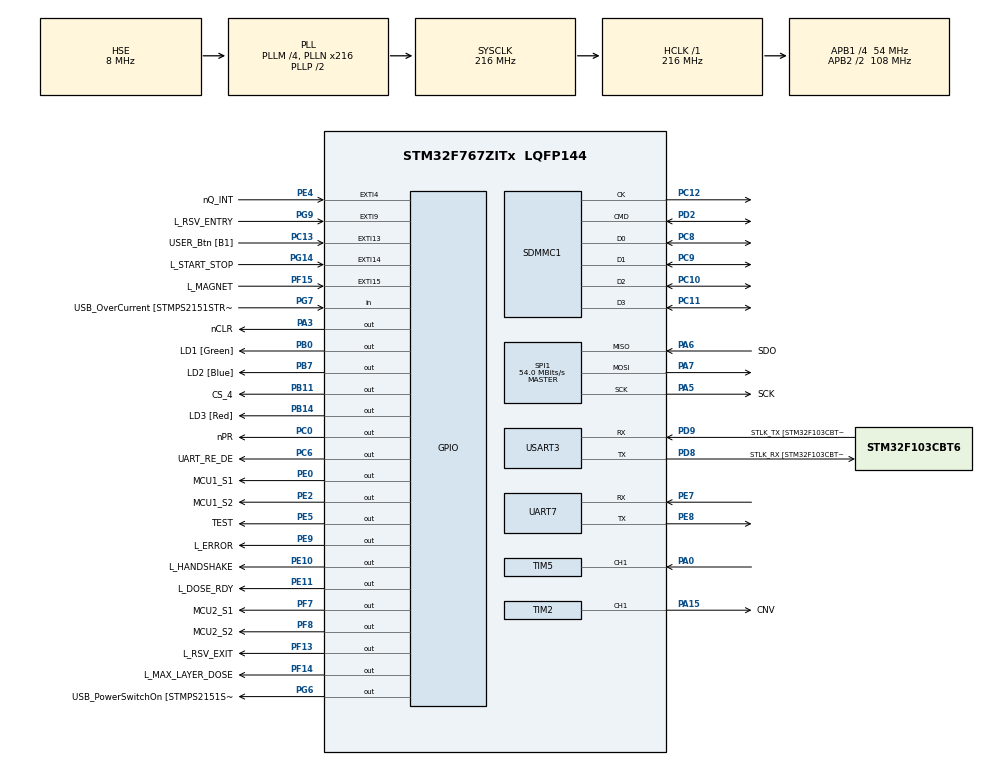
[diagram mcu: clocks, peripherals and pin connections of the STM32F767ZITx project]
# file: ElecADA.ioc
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Dma.Request0=UART7_TX
Dma.Request1=SDMMC1
Dma.SDMMC1.1.Direction=DMA_PERIPH_TO_MEMORY
Dma.SDMMC1.1.FIFOMode=DMA_FIFOMODE_ENABLE
Dma.SDMMC1.1.FIFOThreshold=DMA_FIFO_THRESHOLD_FULL
Dma.SDMMC1.1.Instance=DMA2_Stream3
Dma.SDMMC1.1.MemBurst=DMA_MBURST_INC4
Dma.SDMMC1.1.MemDataAlignment=DMA_MDATAALIGN_WORD
Dma.SDMMC1.1.MemInc=DMA_MINC_ENABLE
Dma.SDMMC1.1.Mode=DMA_PFCTRL
Dma.SDMMC1.1.PeriphBurst=DMA_PBURST_INC4
Dma.SDMMC1.1.PeriphDataAlignment=DMA_PDATAALIGN_WORD
Dma.SDMMC1.1.PeriphInc=DMA_PINC_DISABLE
Dma.SDMMC1.1.Priority=DMA_PRIORITY_LOW
Dma.UART7_TX.0.Direction=DMA_MEMORY_TO_PERIPH
Dma.UART7_TX.0.FIFOMode=DMA_FIFOMODE_DISABLE
Dma.UART7_TX.0.Instance=DMA1_Stream1
Dma.UART7_TX.0.MemDataAlignment=DMA_MDATAALIGN_BYTE
Dma.UART7_TX.0.MemInc=DMA_MINC_ENABLE
Dma.UART7_TX.0.Mode=DMA_NORMAL
Dma.UART7_TX.0.PeriphDataAlignment=DMA_PDATAALIGN_BYTE
Dma.UART7_TX.0.PeriphInc=DMA_PINC_DISABLE
Dma.UART7_TX.0.Priority=DMA_PRIORITY_LOW
FATFS.USE_DMA_CODE_SD=1
FATFS._MAX_SS=512
FATFS._USE_LFN=1
IWDG.Prescaler=IWDG_PRESCALER_128
IWDG.Reload=4000
Mcu.Family=STM32F7
Mcu.Name=STM32F767ZITx
Mcu.Package=LQFP144
NVIC.DMA1_Stream1_IRQn=true\:2\:0\:true\:false\:true\:false\:true\:true
NVIC.DMA2_Stream3_IRQn=true\:5\:0\:true\:false\:true\:false\:true\:true
NVIC.EXTI15_10_IRQn=true\:1\:0\:true\:false\:true\:true\:true\:true
NVIC.EXTI4_IRQn=true\:0\:0\:false\:false\:true\:true\:true\:true
NVIC.PriorityGroup=NVIC_PRIORITYGROUP_4
NVIC.SDMMC1_IRQn=true\:0\:0\:true\:false\:true\:true\:true\:true
NVIC.TIM2_IRQn=true\:0\:0\:true\:false\:true\:true\:true\:true
NVIC.UART7_IRQn=true\:0\:0\:false\:false\:true\:true\:true\:true
NVIC.USART3_IRQn=true\:1\:0\:true\:false\:true\:true\:true\:true
PA0/WKUP.Signal=S_TIM5_CH1
PA13.GPIO_Label=TMS
PA13.Mode=Serial_Wire
PA13.Signal=SYS_JTMS-SWDIO
PA14.GPIO_Label=TCK
PA14.Mode=Serial_Wire
PA14.Signal=SYS_JTCK-SWCLK
PA15.GPIO_Label=CNV
PA15.Signal=S_TIM2_CH1_ETR
PA3.GPIO_Label=nCLR
PA3.PinState=GPIO_PIN_SET
PA3.Signal=GPIO_Output
PA5.GPIO_Label=SCK
PA5.GPIO_Speed=GPIO_SPEED_FREQ_HIGH
PA5.Mode=Full_Duplex_Master
PA5.Signal=SPI1_SCK
PA6.GPIO_Label=SDO
PA6.GPIO_PuPd=GPIO_NOPULL
PA6.GPIO_Speed=GPIO_SPEED_FREQ_HIGH
PA6.Mode=Full_Duplex_Master
PA6.Signal=SPI1_MISO
PA7.GPIO_PuPd=GPIO_NOPULL
PA7.GPIO_Speed=GPIO_SPEED_FREQ_HIGH
PA7.Mode=Full_Duplex_Master
PA7.Signal=SPI1_MOSI
PB0.GPIO_Label=LD1 [Green]
PB0.Signal=GPIO_Output
PB11.GPIO_Label=CS_4
PB11.Signal=GPIO_Output
PB14.GPIO_Label=LD3 [Red]
PB14.Signal=GPIO_Output
PB7.GPIO_Label=LD2 [Blue]
PB7.Signal=GPIO_Output
PC0.GPIO_Label=nPR
PC0.PinState=GPIO_PIN_SET
PC0.Signal=GPIO_Output
PC10.GPIO_PuPd=GPIO_PULLUP
PC10.GPIO_Speed_High_Default=GPIO_SPEED_FREQ_HIGH
PC10.Mode=SD_4_bits_Wide_bus
PC10.Signal=SDMMC1_D2
PC11.GPIO_PuPd=GPIO_PULLUP
PC11.GPIO_Speed_High_Default=GPIO_SPEED_FREQ_HIGH
PC11.Mode=SD_4_bits_Wide_bus
PC11.Signal=SDMMC1_D3
PC12.GPIO_PuPd=GPIO_NOPULL
PC12.GPIO_Speed_High_Default=GPIO_SPEED_FREQ_HIGH
PC12.Mode=SD_4_bits_Wide_bus
PC12.Signal=SDMMC1_CK
PC13.GPIO_Label=USER_Btn [B1]
PC13.Signal=GPXTI13
PC14/OSC32_IN.Signal=RCC_OSC32_IN
PC15/OSC32_OUT.Signal=RCC_OSC32_OUT
PC6.GPIO_Label=UART_RE_DE
PC6.GPIO_PuPd=GPIO_PULLDOWN
PC6.Signal=GPIO_Output
PC8.GPIO_PuPd=GPIO_PULLUP
PC8.GPIO_Speed_High_Default=GPIO_SPEED_FREQ_HIGH
PC8.Mode=SD_4_bits_Wide_bus
PC8.Signal=SDMMC1_D0
PC9.GPIO_PuPd=GPIO_PULLUP
PC9.GPIO_Speed_High_Default=GPIO_SPEED_FREQ_HIGH
PC9.Mode=SD_4_bits_Wide_bus
PC9.Signal=SDMMC1_D1
PD2.GPIO_PuPd=GPIO_PULLUP
PD2.GPIO_Speed_High_Default=GPIO_SPEED_FREQ_HIGH
PD2.Mode=SD_4_bits_Wide_bus
PD2.Signal=SDMMC1_CMD
PD8.GPIO_Label=STLK_RX [STM32F103CBT6_PA3]
PD8.Mode=Asynchronous
PD8.Signal=USART3_TX
PD9.GPIO_Label=STLK_TX [STM32F103CBT6_PA2]
PD9.Mode=Asynchronous
PD9.Signal=USART3_RX
PE0.GPIO_Label=MCU1_S1
PE0.Signal=GPIO_Output
PE10.GPIO_Label=L_HANDSHAKE
PE10.Signal=GPIO_Output
PE11.GPIO_Label=L_DOSE_RDY
PE11.Signal=GPIO_Output
PE2.GPIO_Label=MCU1_S2
PE2.Signal=GPIO_Output
PE4.GPIO_Label=nQ_INT
PE4.GPIO_ModeDefaultEXTI=GPIO_MODE_IT_FALLING
PE4.Signal=GPXTI4
PE5.GPIO_Label=TEST
PE5.Signal=GPIO_Output
PE7.Mode=Asynchronous
PE7.Signal=UART7_RX
PE8.Mode=Asynchronous
PE8.Signal=UART7_TX
PE9.GPIO_Label=L_ERROR
PE9.Signal=GPIO_Output
PF13.GPIO_Label=L_RSV_EXIT
PF13.Signal=GPIO_Output
PF14.GPIO_Label=L_MAX_LAYER_DOSE
PF14.Signal=GPIO_Output
PF15.GPIO_Label=L_MAGNET
PF15.Signal=GPXTI15
PF7.GPIO_Label=MCU2_S1
PF7.Signal=GPIO_Output
PF8.GPIO_Label=MCU2_S2
PF8.Signal=GPIO_Output
PG14.GPIO_Label=L_START_STOP
PG14.GPIO_ModeDefaultEXTI=GPIO_MODE_IT_RISING_FALLING
PG14.GPIO_PuPd=GPIO_NOPULL
PG14.Signal=GPXTI14
PG6.GPIO_Label=USB_PowerSwitchOn [STMPS2151STR_EN]
PG6.Signal=GPIO_Output
PG7.GPIO_Label=USB_OverCurrent [STMPS2151STR_FAULT]
PG7.Signal=GPIO_Input
PG9.GPIO_Label=L_RSV_ENTRY
PG9.Signal=GPXTI9
PH0/OSC_IN.GPIO_Label=MCO [STM32F103CBT6_PA8]
PH0/OSC_IN.Mode=HSE-External-Clock-Source
PH0/OSC_IN.Signal=RCC_OSC_IN
PH1/OSC_OUT.Mode=HSE-External-Clock-Source
PH1/OSC_OUT.Signal=RCC_OSC_OUT
ProjectManager.HeapSize=0x400
ProjectManager.StackSize=0x4000
ProjectManager.TargetToolchain=STM32CubeIDE
RCC.48MHZClocksFreq_Value=24000000
RCC.AHBFreq_Value=216000000
RCC.APB1CLKDivider=RCC_HCLK_DIV4
RCC.APB1Freq_Value=54000000
RCC.APB1TimFreq_Value=108000000
RCC.APB2CLKDivider=RCC_HCLK_DIV2
RCC.APB2Freq_Value=108000000
RCC.APB2TimFreq_Value=216000000
RCC.CortexFreq_Value=216000000
RCC.HCLKFreq_Value=216000000
RCC.HSE_VALUE=8000000
RCC.HSI_VALUE=16000000
RCC.PLLM=4
RCC.PLLMUL=RCC_PLL_MUL9
RCC.PLLN=216
RCC.PLLQ=9
RCC.PLLSourceVirtual=RCC_PLLSOURCE_HSE
RCC.PRESCALERUSB=RCC_USBCLKSOURCE_PLL_DIV1_5
RCC.RCC_MCO1Source=RCC_MCO1SOURCE_PLLCLK
RCC.SDMMCClockSelection=RCC_SDMMC1CLKSOURCE_CLK48
RCC.SYSCLKFreq_VALUE=216000000
RCC.SYSCLKSource=RCC_SYSCLKSOURCE_PLLCLK
RCC.SYSCLKSourceVirtual=RCC_SYSCLKSOURCE_PLLCLK
RCC.USBFreq_Value=48000000
RCC.VCOOutputFreq_Value=432000000
SDMMC1.ClockBypass=SDMMC_CLOCK_BYPASS_DISABLE
SDMMC1.ClockDiv=0
SDMMC1.ClockPowerSave=SDMMC_CLOCK_POWER_SAVE_DISABLE
SH.S_TIM2_CH1_ETR.0=TIM2_CH1,PWM Generation1 CH1
SH.S_TIM5_CH1.0=TIM5_CH1,TriggerSource_TI1ED
SPI1.BaudRatePrescaler=SPI_BAUDRATEPRESCALER_2
SPI1.CalculateBaudRate=54.0 MBits/s
SPI1.DataSize=SPI_DATASIZE_16BIT
SPI1.Direction=SPI_DIRECTION_2LINES
SPI1.Mode=SPI_MODE_MASTER
SPI1.NSSPMode=SPI_NSS_PULSE_DISABLE
SPI1.VirtualType=VM_MASTER
TIM2.AutoReloadPreload=TIM_AUTORELOAD_PRELOAD_DISABLE
TIM2.Channel-PWM\ Generation1\ CH1=TIM_CHANNEL_1
TIM2.Period=59
TIM2.Prescaler=107
TIM2.Pulse-PWM\ Generation1\ CH1=5
TIM2.TIM_MasterOutputTrigger=TIM_TRGO_RESET
TIM5.AutoReloadPreload=TIM_AUTORELOAD_PRELOAD_ENABLE
TIM5.TIM_MasterOutputTrigger=TIM_TRGO_UPDATE
USART3.VirtualMode-Asynchronous=VM_ASYNC
VP_FATFS_VS_SDIO.Mode=SDIO
VP_IWDG_VS_IWDG.Mode=IWDG_Activate
VP_TIM2_VS_ClockSourceINT.Mode=Internal
VP_TIM5_VS_ControllerModeClock.Mode=Clock Mode
VP_TIM8_VS_ClockSourceITR.Mode=TriggerSource_ITR3
VP_TIM8_VS_ControllerModeClock.Mode=Clock Mode
board=NUCLEO-F767ZI

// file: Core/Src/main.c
/* USER CODE BEGIN Header */
/**
 ******************************************************************************
 * @file           : main.c
 * @brief          : Main program body
 ******************************************************************************
 * @attention
 *
 * Copyright (c) 2025 STMicroelectronics.
 * All rights reserved.
 *
 * This software is licensed under terms that can be found in the LICENSE file
 * in the root directory of this software component.
 * If no LICENSE file comes with this software, it is provided AS-IS.
 *
 ******************************************************************************
 */
/* USER CODE END Header */
#include "main.h"
#include "fatfs.h"

/* USER CODE BEGIN Includes */
#include "common.h"
#include "api_smpd.h"

#define UTILS_IMPLEMENTATION
#include "utils.h"
#include "ElecADA.h"
#include "USART_cmd.h"
#include "uSD.h"
#include "delay_micros.h"

//#include <stm32f7xx_hal_sd.h>
/* USER CODE END Includes */

/* USER CODE BEGIN PD */
#define USB_BUFFLEN 500
/* USER CODE END PD */

IWDG_HandleTypeDef hiwdg;

SD_HandleTypeDef hsd1;
DMA_HandleTypeDef hdma_sdmmc1;

SPI_HandleTypeDef hspi1;

TIM_HandleTypeDef htim2;
TIM_HandleTypeDef htim5;
TIM_HandleTypeDef htim8;

UART_HandleTypeDef huart7;
UART_HandleTypeDef huart3;
DMA_HandleTypeDef hdma_uart7_tx;

/* USER CODE BEGIN PV */
extern char str[100];
extern void string_parse();
extern State_t st;
extern SystemFlags_t sf;

//SPIU LOGIC
rs485_t rs485 = { .gpio_pin = UART_RE_DE_Pin, .gpio_port = UART_RE_DE_GPIO_Port,
		.sel_uart = &spiu_uart};
const command_t list_of_dcommands[4] = {
		{LAYER_SPOTS, 401},
		{DOS_WORK_MODE, 2},
		{DOS_SYNC_MODE, 2},
		{DOS_SETTINGS_MODE, 2}
		// DOS_CONFIG, 6
};

uint8_t rx_buf;
uint8_t tx_buf[402];

byte_protocol_t byte_protocol = { .list_of_commands = list_of_dcommands,
		.rx_buff = &rx_buf, .tx_buff = tx_buf, .size_oloc =
				sizeof(list_of_dcommands) / sizeof(list_of_dcommands[0]) };

////

HAL_StatusTypeDef SD_Switch_To_4bit(SD_HandleTypeDef *hsd);
/* USER CODE END PV */

void SystemClock_Config(void);
static void MX_GPIO_Init(void);
static void MX_DMA_Init(void);
static void MX_USART3_UART_Init(void);
static void MX_SPI1_Init(void);
static void MX_TIM2_Init(void);
static void MX_UART7_Init(void);
static void MX_SDMMC1_SD_Init(void);
static void MX_TIM8_Init(void);
static void MX_TIM5_Init(void);
static void MX_IWDG_Init(void);
/* USER CODE BEGIN PFP */
void Reset_SPI_DMA();
/* USER CODE END PFP */

int main(void)
{

  /* MCU Configuration--------------------------------------------------------*/

  /* Reset of all peripherals, Initializes the Flash interface and the Systick. */
  HAL_Init();

  /* Configure the system clock */
  SystemClock_Config();

  /* Initialize all configured peripherals */
  MX_GPIO_Init();
  MX_DMA_Init();
  MX_USART3_UART_Init();
  MX_SPI1_Init();
  MX_TIM2_Init();
  MX_UART7_Init();
  MX_SDMMC1_SD_Init();
  MX_TIM8_Init();
  MX_TIM5_Init();
  MX_FATFS_Init();
  MX_IWDG_Init();
  /* USER CODE BEGIN 2 */
	USART_net_init(&out_uart);
	USART_set_parse_func(string_parse);
//	HAL_UART_Receive_IT(&spiu_uart, &rx_buf, 1);
	HAL_UART_Receive_IT(&out_uart, (uint8_t *)str, 1);

	DWT_Init();

	HAL_GPIO_WritePin(LD1_GPIO_Port, LD1_Pin, SET);
	HAL_GPIO_WritePin(LD2_GPIO_Port, LD2_Pin, SET);
	HAL_Delay(500);
	HAL_GPIO_WritePin(LD1_GPIO_Port, LD1_Pin, RESET);
	HAL_GPIO_WritePin(LD2_GPIO_Port, LD2_Pin, RESET);

	printf("[INFO] START F7\n");

	FRESULT fr = Mount_SD_Card();
	if (fr != FR_OK) {
		printf("[WARN] SD card not available, continuing without SD\n");
		sd_manager.is_ready = false;
	}

  /* USER CODE END 2 */

  /* Infinite loop */
  /* USER CODE BEGIN WHILE */

	Start_ADC();
	HAL_TIM_Base_Start(&pulse_cnt_ovf);
	HAL_TIM_Base_Start_IT(&pulse_cnt);
	/* Infinite loop */
	/* USER CODE BEGIN WHILE */
	while (1) {
    /* USER CODE END WHILE */

    /* USER CODE BEGIN 3 */
		if (sf.adc_ready) {
			sf.adc_ready = false;
			Read_ADC();

			//HAL_GPIO_WritePin(L_RSV_EXIT_GPIO_Port, L_RSV_EXIT_Pin, RESET);
		}

	}
  /* USER CODE END 3 */
}

void SystemClock_Config(void)
{
  RCC_OscInitTypeDef RCC_OscInitStruct = {0};
  RCC_ClkInitTypeDef RCC_ClkInitStruct = {0};

  /** Configure the main internal regulator output voltage
  */
  __HAL_RCC_PWR_CLK_ENABLE();
  __HAL_PWR_VOLTAGESCALING_CONFIG(PWR_REGULATOR_VOLTAGE_SCALE1);

  /** Initializes the RCC Oscillators according to the specified parameters
  * in the RCC_OscInitTypeDef structure.
  */
  RCC_OscInitStruct.OscillatorType = RCC_OSCILLATORTYPE_LSI|RCC_OSCILLATORTYPE_HSE;
  RCC_OscInitStruct.HSEState = RCC_HSE_BYPASS;
  RCC_OscInitStruct.LSIState = RCC_LSI_ON;
  RCC_OscInitStruct.PLL.PLLState = RCC_PLL_ON;
  RCC_OscInitStruct.PLL.PLLSource = RCC_PLLSOURCE_HSE;
  RCC_OscInitStruct.PLL.PLLM = 4;
  RCC_OscInitStruct.PLL.PLLN = 216;
  RCC_OscInitStruct.PLL.PLLP = RCC_PLLP_DIV2;
  RCC_OscInitStruct.PLL.PLLQ = 9;
  RCC_OscInitStruct.PLL.PLLR = 2;
  if (HAL_RCC_OscConfig(&RCC_OscInitStruct) != HAL_OK)
  {
    Error_Handler();
  }

  /** Activate the Over-Drive mode
  */
  if (HAL_PWREx_EnableOverDrive() != HAL_OK)
  {
    Error_Handler();
  }

  /** Initializes the CPU, AHB and APB buses clocks
  */
  RCC_ClkInitStruct.ClockType = RCC_CLOCKTYPE_HCLK|RCC_CLOCKTYPE_SYSCLK
                              |RCC_CLOCKTYPE_PCLK1|RCC_CLOCKTYPE_PCLK2;
  RCC_ClkInitStruct.SYSCLKSource = RCC_SYSCLKSOURCE_PLLCLK;
  RCC_ClkInitStruct.AHBCLKDivider = RCC_SYSCLK_DIV1;
  RCC_ClkInitStruct.APB1CLKDivider = RCC_HCLK_DIV4;
  RCC_ClkInitStruct.APB2CLKDivider = RCC_HCLK_DIV2;

  if (HAL_RCC_ClockConfig(&RCC_ClkInitStruct, FLASH_LATENCY_7) != HAL_OK)
  {
    Error_Handler();
  }
}

static void MX_IWDG_Init(void)
{

  hiwdg.Instance = IWDG;
  hiwdg.Init.Prescaler = IWDG_PRESCALER_128;
  hiwdg.Init.Window = 4095;
  hiwdg.Init.Reload = 4000;
  if (HAL_IWDG_Init(&hiwdg) != HAL_OK)
  {
    Error_Handler();
  }

}

static void MX_SDMMC1_SD_Init(void)
{

  hsd1.Instance = SDMMC1;
  hsd1.Init.ClockEdge = SDMMC_CLOCK_EDGE_RISING;
  hsd1.Init.ClockBypass = SDMMC_CLOCK_BYPASS_DISABLE;
  hsd1.Init.ClockPowerSave = SDMMC_CLOCK_POWER_SAVE_DISABLE;
  hsd1.Init.BusWide = SDMMC_BUS_WIDE_1B;
  hsd1.Init.HardwareFlowControl = SDMMC_HARDWARE_FLOW_CONTROL_DISABLE;
  hsd1.Init.ClockDiv = 0;
  /* USER CODE BEGIN SDMMC1_Init 2 */
//  HAL_SD_Init(&sd_card);
//  HAL_Delay(10);
//
//  if (HAL_SD_ConfigWideBusOperation(&sd_card, SDMMC_BUS_WIDE_4B) != HAL_OK)
//  {
//      Error_Handler();
//  }
  /* USER CODE END SDMMC1_Init 2 */

}

static void MX_SPI1_Init(void)
{

  /* SPI1 parameter configuration*/
  hspi1.Instance = SPI1;
  hspi1.Init.Mode = SPI_MODE_MASTER;
  hspi1.Init.Direction = SPI_DIRECTION_2LINES;
  hspi1.Init.DataSize = SPI_DATASIZE_16BIT;
  hspi1.Init.CLKPolarity = SPI_POLARITY_LOW;
  hspi1.Init.CLKPhase = SPI_PHASE_1EDGE;
  hspi1.Init.NSS = SPI_NSS_SOFT;
  hspi1.Init.BaudRatePrescaler = SPI_BAUDRATEPRESCALER_2;
  hspi1.Init.FirstBit = SPI_FIRSTBIT_MSB;
  hspi1.Init.TIMode = SPI_TIMODE_DISABLE;
  hspi1.Init.CRCCalculation = SPI_CRCCALCULATION_DISABLE;
  hspi1.Init.CRCPolynomial = 7;
  hspi1.Init.CRCLength = SPI_CRC_LENGTH_DATASIZE;
  hspi1.Init.NSSPMode = SPI_NSS_PULSE_DISABLE;
  if (HAL_SPI_Init(&hspi1) != HAL_OK)
  {
    Error_Handler();
  }

}

static void MX_TIM2_Init(void)
{

  TIM_ClockConfigTypeDef sClockSourceConfig = {0};
  TIM_MasterConfigTypeDef sMasterConfig = {0};
  TIM_OC_InitTypeDef sConfigOC = {0};

  htim2.Instance = TIM2;
  htim2.Init.Prescaler = 107;
  htim2.Init.CounterMode = TIM_COUNTERMODE_UP;
  htim2.Init.Period = 59;
  htim2.Init.ClockDivision = TIM_CLOCKDIVISION_DIV1;
  htim2.Init.AutoReloadPreload = TIM_AUTORELOAD_PRELOAD_DISABLE;
  if (HAL_TIM_Base_Init(&htim2) != HAL_OK)
  {
    Error_Handler();
  }
  sClockSourceConfig.ClockSource = TIM_CLOCKSOURCE_INTERNAL;
  if (HAL_TIM_ConfigClockSource(&htim2, &sClockSourceConfig) != HAL_OK)
  {
    Error_Handler();
  }
  if (HAL_TIM_PWM_Init(&htim2) != HAL_OK)
  {
    Error_Handler();
  }
  sMasterConfig.MasterOutputTrigger = TIM_TRGO_RESET;
  sMasterConfig.MasterSlaveMode = TIM_MASTERSLAVEMODE_DISABLE;
  if (HAL_TIMEx_MasterConfigSynchronization(&htim2, &sMasterConfig) != HAL_OK)
  {
    Error_Handler();
  }
  sConfigOC.OCMode = TIM_OCMODE_PWM1;
  sConfigOC.Pulse = 5;
  sConfigOC.OCPolarity = TIM_OCPOLARITY_HIGH;
  sConfigOC.OCFastMode = TIM_OCFAST_DISABLE;
  if (HAL_TIM_PWM_ConfigChannel(&htim2, &sConfigOC, TIM_CHANNEL_1) != HAL_OK)
  {
    Error_Handler();
  }
  HAL_TIM_MspPostInit(&htim2);

}

static void MX_TIM5_Init(void)
{

  TIM_SlaveConfigTypeDef sSlaveConfig = {0};
  TIM_MasterConfigTypeDef sMasterConfig = {0};

  htim5.Instance = TIM5;
  htim5.Init.Prescaler = 0;
  htim5.Init.CounterMode = TIM_COUNTERMODE_UP;
  htim5.Init.Period = 4294967295;
  htim5.Init.ClockDivision = TIM_CLOCKDIVISION_DIV1;
  htim5.Init.AutoReloadPreload = TIM_AUTORELOAD_PRELOAD_ENABLE;
  if (HAL_TIM_Base_Init(&htim5) != HAL_OK)
  {
    Error_Handler();
  }
  sSlaveConfig.SlaveMode = TIM_SLAVEMODE_EXTERNAL1;
  sSlaveConfig.InputTrigger = TIM_TS_TI1F_ED;
  sSlaveConfig.TriggerFilter = 0;
  if (HAL_TIM_SlaveConfigSynchro(&htim5, &sSlaveConfig) != HAL_OK)
  {
    Error_Handler();
  }
  sMasterConfig.MasterOutputTrigger = TIM_TRGO_UPDATE;
  sMasterConfig.MasterSlaveMode = TIM_MASTERSLAVEMODE_DISABLE;
  if (HAL_TIMEx_MasterConfigSynchronization(&htim5, &sMasterConfig) != HAL_OK)
  {
    Error_Handler();
  }

}

static void MX_TIM8_Init(void)
{

  TIM_SlaveConfigTypeDef sSlaveConfig = {0};
  TIM_MasterConfigTypeDef sMasterConfig = {0};

  htim8.Instance = TIM8;
  htim8.Init.Prescaler = 0;
  htim8.Init.CounterMode = TIM_COUNTERMODE_UP;
  htim8.Init.Period = 65535;
  htim8.Init.ClockDivision = TIM_CLOCKDIVISION_DIV1;
  htim8.Init.RepetitionCounter = 0;
  htim8.Init.AutoReloadPreload = TIM_AUTORELOAD_PRELOAD_DISABLE;
  if (HAL_TIM_Base_Init(&htim8) != HAL_OK)
  {
    Error_Handler();
  }
  sSlaveConfig.SlaveMode = TIM_SLAVEMODE_EXTERNAL1;
  sSlaveConfig.InputTrigger = TIM_TS_ITR3;
  if (HAL_TIM_SlaveConfigSynchro(&htim8, &sSlaveConfig) != HAL_OK)
  {
    Error_Handler();
  }
  sMasterConfig.MasterOutputTrigger = TIM_TRGO_RESET;
  sMasterConfig.MasterOutputTrigger2 = TIM_TRGO2_RESET;
  sMasterConfig.MasterSlaveMode = TIM_MASTERSLAVEMODE_DISABLE;
  if (HAL_TIMEx_MasterConfigSynchronization(&htim8, &sMasterConfig) != HAL_OK)
  {
    Error_Handler();
  }

}

static void MX_UART7_Init(void)
{

  huart7.Instance = UART7;
  huart7.Init.BaudRate = 115200;
  huart7.Init.WordLength = UART_WORDLENGTH_8B;
  huart7.Init.StopBits = UART_STOPBITS_1;
  huart7.Init.Parity = UART_PARITY_NONE;
  huart7.Init.Mode = UART_MODE_TX_RX;
  huart7.Init.HwFlowCtl = UART_HWCONTROL_NONE;
  huart7.Init.OverSampling = UART_OVERSAMPLING_16;
  huart7.Init.OneBitSampling = UART_ONE_BIT_SAMPLE_DISABLE;
  huart7.AdvancedInit.AdvFeatureInit = UART_ADVFEATURE_NO_INIT;
  if (HAL_UART_Init(&huart7) != HAL_OK)
  {
    Error_Handler();
  }

}

static void MX_USART3_UART_Init(void)
{

  huart3.Instance = USART3;
  huart3.Init.BaudRate = 115200;
  huart3.Init.WordLength = UART_WORDLENGTH_8B;
  huart3.Init.StopBits = UART_STOPBITS_1;
  huart3.Init.Parity = UART_PARITY_NONE;
  huart3.Init.Mode = UART_MODE_TX_RX;
  huart3.Init.HwFlowCtl = UART_HWCONTROL_NONE;
  huart3.Init.OverSampling = UART_OVERSAMPLING_16;
  huart3.Init.OneBitSampling = UART_ONE_BIT_SAMPLE_DISABLE;
  huart3.AdvancedInit.AdvFeatureInit = UART_ADVFEATURE_NO_INIT;
  if (HAL_UART_Init(&huart3) != HAL_OK)
  {
    Error_Handler();
  }

}

static void MX_DMA_Init(void)
{

  /* DMA controller clock enable */
  __HAL_RCC_DMA1_CLK_ENABLE();
  __HAL_RCC_DMA2_CLK_ENABLE();

  /* DMA interrupt init */
  /* DMA1_Stream1_IRQn interrupt configuration */
  HAL_NVIC_SetPriority(DMA1_Stream1_IRQn, 2, 0);
  HAL_NVIC_EnableIRQ(DMA1_Stream1_IRQn);
  /* DMA2_Stream3_IRQn interrupt configuration */
  HAL_NVIC_SetPriority(DMA2_Stream3_IRQn, 5, 0);
  HAL_NVIC_EnableIRQ(DMA2_Stream3_IRQn);

}

static void MX_GPIO_Init(void)
{
  GPIO_InitTypeDef GPIO_InitStruct = {0};

  /* GPIO Ports Clock Enable */
  __HAL_RCC_GPIOE_CLK_ENABLE();
  __HAL_RCC_GPIOC_CLK_ENABLE();
  __HAL_RCC_GPIOF_CLK_ENABLE();
  __HAL_RCC_GPIOH_CLK_ENABLE();
  __HAL_RCC_GPIOA_CLK_ENABLE();
  __HAL_RCC_GPIOB_CLK_ENABLE();
  __HAL_RCC_GPIOG_CLK_ENABLE();
  __HAL_RCC_GPIOD_CLK_ENABLE();

  /*Configure GPIO pin Output Level */
  HAL_GPIO_WritePin(GPIOE, MCU1_S2_Pin|TEST_Pin|L_ERROR_Pin|L_HANDSHAKE_Pin
                          |L_DOSE_RDY_Pin|MCU1_S1_Pin, GPIO_PIN_RESET);

  /*Configure GPIO pin Output Level */
  HAL_GPIO_WritePin(GPIOF, MCU2_S1_Pin|MCU2_S2_Pin|L_RSV_EXIT_Pin|L_MAX_LAYER_DOSE_Pin, GPIO_PIN_RESET);

  /*Configure GPIO pin Output Level */
  HAL_GPIO_WritePin(nPR_GPIO_Port, nPR_Pin, GPIO_PIN_SET);

  /*Configure GPIO pin Output Level */
  HAL_GPIO_WritePin(nCLR_GPIO_Port, nCLR_Pin, GPIO_PIN_SET);

  /*Configure GPIO pin Output Level */
  HAL_GPIO_WritePin(GPIOB, LD1_Pin|CS_4_Pin|LD3_Pin|LD2_Pin, GPIO_PIN_RESET);

  /*Configure GPIO pin Output Level */
  HAL_GPIO_WritePin(USB_PowerSwitchOn_GPIO_Port, USB_PowerSwitchOn_Pin, GPIO_PIN_RESET);

  /*Configure GPIO pin Output Level */
  HAL_GPIO_WritePin(UART_RE_DE_GPIO_Port, UART_RE_DE_Pin, GPIO_PIN_RESET);

  /*Configure GPIO pins : MCU1_S2_Pin TEST_Pin L_ERROR_Pin L_HANDSHAKE_Pin
                           L_DOSE_RDY_Pin MCU1_S1_Pin */
  GPIO_InitStruct.Pin = MCU1_S2_Pin|TEST_Pin|L_ERROR_Pin|L_HANDSHAKE_Pin
                          |L_DOSE_RDY_Pin|MCU1_S1_Pin;
  GPIO_InitStruct.Mode = GPIO_MODE_OUTPUT_PP;
  GPIO_InitStruct.Pull = GPIO_NOPULL;
  GPIO_InitStruct.Speed = GPIO_SPEED_FREQ_LOW;
  HAL_GPIO_Init(GPIOE, &GPIO_InitStruct);

  /*Configure GPIO pins : PE3 PE6 PE12 PE13
                           PE14 PE15 PE1 */
  GPIO_InitStruct.Pin = GPIO_PIN_3|GPIO_PIN_6|GPIO_PIN_12|GPIO_PIN_13
                          |GPIO_PIN_14|GPIO_PIN_15|GPIO_PIN_1;
  GPIO_InitStruct.Mode = GPIO_MODE_ANALOG;
  GPIO_InitStruct.Pull = GPIO_NOPULL;
  HAL_GPIO_Init(GPIOE, &GPIO_InitStruct);

  /*Configure GPIO pin : nQ_INT_Pin */
  GPIO_InitStruct.Pin = nQ_INT_Pin;
  GPIO_InitStruct.Mode = GPIO_MODE_IT_FALLING;
  GPIO_InitStruct.Pull = GPIO_NOPULL;
  HAL_GPIO_Init(nQ_INT_GPIO_Port, &GPIO_InitStruct);

  /*Configure GPIO pin : USER_Btn_Pin */
  GPIO_InitStruct.Pin = USER_Btn_Pin;
  GPIO_InitStruct.Mode = GPIO_MODE_IT_RISING;
  GPIO_InitStruct.Pull = GPIO_NOPULL;
  HAL_GPIO_Init(USER_Btn_GPIO_Port, &GPIO_InitStruct);

  /*Configure GPIO pins : PF0 PF1 PF2 PF3
                           PF4 PF5 PF6 PF9
                           PF10 PF11 PF12 */
  GPIO_InitStruct.Pin = GPIO_PIN_0|GPIO_PIN_1|GPIO_PIN_2|GPIO_PIN_3
                          |GPIO_PIN_4|GPIO_PIN_5|GPIO_PIN_6|GPIO_PIN_9
                          |GPIO_PIN_10|GPIO_PIN_11|GPIO_PIN_12;
  GPIO_InitStruct.Mode = GPIO_MODE_ANALOG;
  GPIO_InitStruct.Pull = GPIO_NOPULL;
  HAL_GPIO_Init(GPIOF, &GPIO_InitStruct);

  /*Configure GPIO pins : MCU2_S1_Pin MCU2_S2_Pin L_RSV_EXIT_Pin L_MAX_LAYER_DOSE_Pin */
  GPIO_InitStruct.Pin = MCU2_S1_Pin|MCU2_S2_Pin|L_RSV_EXIT_Pin|L_MAX_LAYER_DOSE_Pin;
  GPIO_InitStruct.Mode = GPIO_MODE_OUTPUT_PP;
  GPIO_InitStruct.Pull = GPIO_NOPULL;
  GPIO_InitStruct.Speed = GPIO_SPEED_FREQ_LOW;
  HAL_GPIO_Init(GPIOF, &GPIO_InitStruct);

  /*Configure GPIO pin : nPR_Pin */
  GPIO_InitStruct.Pin = nPR_Pin;
  GPIO_InitStruct.Mode = GPIO_MODE_OUTPUT_PP;
  GPIO_InitStruct.Pull = GPIO_NOPULL;
  GPIO_InitStruct.Speed = GPIO_SPEED_FREQ_LOW;
  HAL_GPIO_Init(nPR_GPIO_Port, &GPIO_InitStruct);

  /*Configure GPIO pins : PC1 PC2 PC3 PC4
                           PC5 PC7 */
  GPIO_InitStruct.Pin = GPIO_PIN_1|GPIO_PIN_2|GPIO_PIN_3|GPIO_PIN_4
                          |GPIO_PIN_5|GPIO_PIN_7;
  GPIO_InitStruct.Mode = GPIO_MODE_ANALOG;
  GPIO_InitStruct.Pull = GPIO_NOPULL;
  HAL_GPIO_Init(GPIOC, &GPIO_InitStruct);

  /*Configure GPIO pins : PA1 PA2 PA4 PA8
                           PA9 PA10 PA11 PA12 */
  GPIO_InitStruct.Pin = GPIO_PIN_1|GPIO_PIN_2|GPIO_PIN_4|GPIO_PIN_8
                          |GPIO_PIN_9|GPIO_PIN_10|GPIO_PIN_11|GPIO_PIN_12;
  GPIO_InitStruct.Mode = GPIO_MODE_ANALOG;
  GPIO_InitStruct.Pull = GPIO_NOPULL;
  HAL_GPIO_Init(GPIOA, &GPIO_InitStruct);

  /*Configure GPIO pin : nCLR_Pin */
  GPIO_InitStruct.Pin = nCLR_Pin;
  GPIO_InitStruct.Mode = GPIO_MODE_OUTPUT_PP;
  GPIO_InitStruct.Pull = GPIO_NOPULL;
  GPIO_InitStruct.Speed = GPIO_SPEED_FREQ_LOW;
  HAL_GPIO_Init(nCLR_GPIO_Port, &GPIO_InitStruct);

  /*Configure GPIO pins : LD1_Pin CS_4_Pin LD3_Pin LD2_Pin */
  GPIO_InitStruct.Pin = LD1_Pin|CS_4_Pin|LD3_Pin|LD2_Pin;
  GPIO_InitStruct.Mode = GPIO_MODE_OUTPUT_PP;
  GPIO_InitStruct.Pull = GPIO_NOPULL;
  GPIO_InitStruct.Speed = GPIO_SPEED_FREQ_LOW;
  HAL_GPIO_Init(GPIOB, &GPIO_InitStruct);

  /*Configure GPIO pins : PB1 PB2 PB10 PB12
                           PB13 PB15 PB3 PB4
                           PB5 PB6 PB8 PB9 */
  GPIO_InitStruct.Pin = GPIO_PIN_1|GPIO_PIN_2|GPIO_PIN_10|GPIO_PIN_12
                          |GPIO_PIN_13|GPIO_PIN_15|GPIO_PIN_3|GPIO_PIN_4
                          |GPIO_PIN_5|GPIO_PIN_6|GPIO_PIN_8|GPIO_PIN_9;
  GPIO_InitStruct.Mode = GPIO_MODE_ANALOG;
  GPIO_InitStruct.Pull = GPIO_NOPULL;
  HAL_GPIO_Init(GPIOB, &GPIO_InitStruct);

  /*Configure GPIO pin : L_MAGNET_Pin */
  GPIO_InitStruct.Pin = L_MAGNET_Pin;
  GPIO_InitStruct.Mode = GPIO_MODE_IT_RISING;
  GPIO_InitStruct.Pull = GPIO_NOPULL;
  HAL_GPIO_Init(L_MAGNET_GPIO_Port, &GPIO_InitStruct);

  /*Configure GPIO pins : PG0 PG1 PG2 PG3
                           PG4 PG5 PG8 PG10
                           PG11 PG12 PG13 PG15 */
  GPIO_InitStruct.Pin = GPIO_PIN_0|GPIO_PIN_1|GPIO_PIN_2|GPIO_PIN_3
                          |GPIO_PIN_4|GPIO_PIN_5|GPIO_PIN_8|GPIO_PIN_10
                          |GPIO_PIN_11|GPIO_PIN_12|GPIO_PIN_13|GPIO_PIN_15;
  GPIO_InitStruct.Mode = GPIO_MODE_ANALOG;
  GPIO_InitStruct.Pull = GPIO_NOPULL;
  HAL_GPIO_Init(GPIOG, &GPIO_InitStruct);

  /*Configure GPIO pins : PD10 PD11 PD12 PD13
                           PD14 PD15 PD0 PD1
                           PD3 PD4 PD5 PD6
                           PD7 */
  GPIO_InitStruct.Pin = GPIO_PIN_10|GPIO_PIN_11|GPIO_PIN_12|GPIO_PIN_13
                          |GPIO_PIN_14|GPIO_PIN_15|GPIO_PIN_0|GPIO_PIN_1
                          |GPIO_PIN_3|GPIO_PIN_4|GPIO_PIN_5|GPIO_PIN_6
                          |GPIO_PIN_7;
  GPIO_InitStruct.Mode = GPIO_MODE_ANALOG;
  GPIO_InitStruct.Pull = GPIO_NOPULL;
  HAL_GPIO_Init(GPIOD, &GPIO_InitStruct);

  /*Configure GPIO pin : USB_PowerSwitchOn_Pin */
  GPIO_InitStruct.Pin = USB_PowerSwitchOn_Pin;
  GPIO_InitStruct.Mode = GPIO_MODE_OUTPUT_PP;
  GPIO_InitStruct.Pull = GPIO_NOPULL;
  GPIO_InitStruct.Speed = GPIO_SPEED_FREQ_LOW;
  HAL_GPIO_Init(USB_PowerSwitchOn_GPIO_Port, &GPIO_InitStruct);

  /*Configure GPIO pin : USB_OverCurrent_Pin */
  GPIO_InitStruct.Pin = USB_OverCurrent_Pin;
  GPIO_InitStruct.Mode = GPIO_MODE_INPUT;
  GPIO_InitStruct.Pull = GPIO_NOPULL;
  HAL_GPIO_Init(USB_OverCurrent_GPIO_Port, &GPIO_InitStruct);

  /*Configure GPIO pin : UART_RE_DE_Pin */
  GPIO_InitStruct.Pin = UART_RE_DE_Pin;
  GPIO_InitStruct.Mode = GPIO_MODE_OUTPUT_PP;
  GPIO_InitStruct.Pull = GPIO_PULLDOWN;
  GPIO_InitStruct.Speed = GPIO_SPEED_FREQ_LOW;
  HAL_GPIO_Init(UART_RE_DE_GPIO_Port, &GPIO_InitStruct);

  /*Configure GPIO pin : L_RSV_ENTRY_Pin */
  GPIO_InitStruct.Pin = L_RSV_ENTRY_Pin;
  GPIO_InitStruct.Mode = GPIO_MODE_IT_RISING;
  GPIO_InitStruct.Pull = GPIO_NOPULL;
  HAL_GPIO_Init(L_RSV_ENTRY_GPIO_Port, &GPIO_InitStruct);

  /*Configure GPIO pin : L_START_STOP_Pin */
  GPIO_InitStruct.Pin = L_START_STOP_Pin;
  GPIO_InitStruct.Mode = GPIO_MODE_IT_RISING_FALLING;
  GPIO_InitStruct.Pull = GPIO_NOPULL;
  HAL_GPIO_Init(L_START_STOP_GPIO_Port, &GPIO_InitStruct);

  /* EXTI interrupt init*/
  HAL_NVIC_SetPriority(EXTI4_IRQn, 0, 0);
  HAL_NVIC_EnableIRQ(EXTI4_IRQn);

  HAL_NVIC_SetPriority(EXTI15_10_IRQn, 1, 0);
  HAL_NVIC_EnableIRQ(EXTI15_10_IRQn);

/* USER CODE BEGIN MX_GPIO_Init_2 */
	HAL_NVIC_DisableIRQ(nQ_IRQ);
/* USER CODE END MX_GPIO_Init_2 */
}

/* USER CODE BEGIN 4 */
int _write(int file, char *ptr, int len) {
	(void) file;
	if (file == 1) {
		print_UART(out_uart, (uint8_t*) ptr, len);
	}
	return len;
}

void HAL_UART_TxCpltCallback(UART_HandleTypeDef *huart) {
	if (huart == &out_uart) {
		sf.uart_lock = false;
		tx_processing();

	}
	if (huart == &spiu_uart) {
		tx_processing();
		//sf.uart_lock = false;
//		HAL_GPIO_WritePin(send_data.gpio_port, send_data.gpio_pin, RESET);
//		//transmit_logic(huart,rs485);
//		if (dt.current_index >= dt.table_size) {
//			if (!ts.start)
//				Stop_Pulse_cnt();
//		}
	}
}

void HAL_UART_RxCpltCallback(UART_HandleTypeDef *huart) {
	if (huart == &out_uart) {
		USART_cmd_RxCpltCallback();
	}
	if(huart == &spiu_uart){
	receive_logic(huart, rs485, &byte_protocol);
	if(byte_protocol.tx_flag){
		dose_parse_data(tx_buf);
		byte_protocol.tx_flag = false;
	}
	}
}

void HAL_TIM_PWM_PulseFinishedCallback(TIM_HandleTypeDef *htim) {
	if (htim == &adc_timer) {
		sf.adc_ready = true;
		HAL_GPIO_WritePin(L_RSV_EXIT_GPIO_Port, L_RSV_EXIT_Pin, SET);

	}
}

void HAL_TIM_PeriodElapsedCallback(TIM_HandleTypeDef *htim) {
	if (htim == &pulse_cnt) {
	}

	if (htim == &adc_timer) {

	}
}

void HAL_GPIO_EXTI_Callback(uint16_t GPIO_Pin) {
	if(GPIO_Pin == L_START_STOP_Pin){
		if(HAL_GPIO_ReadPin(L_START_STOP_GPIO_Port, L_START_STOP_Pin) == GPIO_PIN_RESET ){
			sf.start_stop = false;
			sf.sync_latch_low = true;
			//HAL_GPIO_WritePin(L_ERROR_GPIO_Port, L_ERROR_Pin,SET);

		}else{
			sf.start_stop = true;
			sf.sync_latch_high = true;
			//HAL_GPIO_WritePin(L_ERROR_GPIO_Port, L_ERROR_Pin,RESET);

		}
	}
	if (GPIO_Pin == nQ_INT_Pin && sf.pulse_run == true) {
		HAL_NVIC_DisableIRQ(nQ_IRQ);
		Start_Pulse_cnt();
	}
	if (GPIO_Pin == L_MAGNET_Pin) {
		On_Magnet_Arrived();
	}
}

//HAL_StatusTypeDef HAL_SD_InitCard_FIX(SD_HandleTypeDef *hsd) {
//	HAL_StatusTypeDef status;
//	SD_InitTypeDef Init;
//
//	Init.ClockEdge = SDMMC_CLOCK_EDGE_RISING;
//	Init.ClockBypass = SDMMC_CLOCK_BYPASS_DISABLE;
//	Init.ClockPowerSave = SDMMC_CLOCK_POWER_SAVE_DISABLE;
//	Init.BusWide = SDMMC_BUS_WIDE_1B;
//	Init.HardwareFlowControl = SDMMC_HARDWARE_FLOW_CONTROL_DISABLE;
//	Init.ClockDiv = SDMMC_INIT_CLK_DIV;
//
//	status = SDMMC_Init(hsd->Instance, Init);
//	if (status != HAL_OK) {
//		return HAL_ERROR;
//	}
//
//	return HAL_OK;
//}
// Функция ручного переключения на 4 бита
/*
 * @brief  Ручное переключение SD-карты в 4-битный режим с проверками
 * @param  hsd: Указатель на SD handle
 * @retval HAL статус
 */
//HAL_StatusTypeDef SD_Switch_To_4bit(SD_HandleTypeDef *hsd) {
//	HAL_StatusTypeDef status;
//
//	if (hsd == NULL) {
//		return HAL_ERROR;
//	}
//
//	/* Проверяем состояние карты - должна быть инициализирована в 1-битном режиме */
//	if (hsd->State != HAL_SD_STATE_READY) {
//		return HAL_BUSY;
//	}
//
//	/* Проверяем, что карта поддерживает 4-битный режим */
//	/* Для SD-карт (не MMC) */
//	if (hsd->SdCard.CardType != CARD_SECURED) {
//		/* �?спользуем стандартную HAL функцию для включения широкой шины */
//		status = HAL_SD_ConfigWideBusOperation(hsd, SDMMC_BUS_WIDE_4B);
//
//		if (status != HAL_OK) {
//			/* Если не удалось, возвращаем ошибку */
//			hsd->ErrorCode |= HAL_SD_ERROR_UNSUPPORTED_FEATURE;
//			return HAL_ERROR;
//		}
//	} else {
//		/* Secured карты не поддерживают широкую шину */
//		hsd->ErrorCode |= HAL_SD_ERROR_UNSUPPORTED_FEATURE;
//		return HAL_ERROR;
//	}
//
//	return HAL_OK;
//}
//
//static void SDIO_SDCard_Test(void)
//{
////  FATFS FatFs;
////  FIL Fil;
////  FRESULT FR_Status;
////  FATFS *FS_Ptr;
////  UINT RWC, WWC; // Read/Write Word Counter
////  DWORD FreeClusters;
////  uint32_t TotalSize, FreeSpace;
////  char RW_Buffer[200];
//  do
//  {
//    //------------------[ Mount The SD Card ]--------------------
//    FR_Status = f_mount(&FatFs, SDPath, 1);
//    if (FR_Status != FR_OK)
//    {
//      printf("Error! While Mounting SD Card, Error Code: (%i)\r\n", FR_Status);
//      //USB_CDC_Print(TxBuffer);
//      break;
//    }
//    printf("SD Card Mounted Successfully! \r\n\n");
//    //USB_CDC_Print(TxBuffer);
//    //------------------[ Get & Print The SD Card Size & Free Space ]--------------------
//    f_getfree("", &FreeClusters, &FS_Ptr);
//    TotalSize = (uint32_t)((FS_Ptr->n_fatent - 2) * FS_Ptr->csize * 0.5);
//    FreeSpace = (uint32_t)(FreeClusters * FS_Ptr->csize * 0.5);
//    printf("Total SD Card Size: %lu Bytes\r\n", TotalSize);
//    //USB_CDC_Print(TxBuffer);
//    printf("Free SD Card Space: %lu Bytes\r\n\n", FreeSpace);
//    //USB_CDC_Print(TxBuffer);
//    //------------------[ Open A Text File For Write & Write Data ]--------------------
//    //Open the file
//    FR_Status = f_open(&Fil, "MyTextFile.txt", FA_WRITE | FA_READ | FA_CREATE_ALWAYS);
//    if(FR_Status != FR_OK)
//    {
//      printf("Error! While Creating/Opening A New Text File, Error Code: (%i)\r\n", FR_Status);
//      //USB_CDC_Print(TxBuffer);
//      break;
//    }
//
//    printf("Text File Created & Opened! Writing Data To The Text File..\r\n\n");
//    //USB_CDC_Print(TxBuffer);
//    // (1) Write Data To The Text File [ Using f_puts() Function ]
//    f_puts("Hello! From STM32 To SD Card Over SDMMC, Using f_puts()\n", &Fil);
//    // (2) Write Data To The Text File [ Using f_write() Function ]
//    strcpy(RW_Buffer, "Hello! From STM32 To SD Card Over SDMMC, Using f_write()\r\n");
//    f_write(&Fil, RW_Buffer, strlen(RW_Buffer), &WWC);
//    // Close The File
//    f_close(&Fil);
//    //------------------[ Open A Text File For Read & Read Its Data ]--------------------
//    // Open The File
//    FR_Status = f_open(&Fil, "MyTextFile.txt", FA_READ);
//    if(FR_Status != FR_OK)
//    {
//      printf( "Error! While Opening (MyTextFile.txt) File For Read.. \r\n");
//      //USB_CDC_Print(TxBuffer);
//      break;
//    }
//    // (1) Read The Text File's Data [ Using f_gets() Function ]
//    f_gets(RW_Buffer, sizeof(RW_Buffer), &Fil);
//    printf("Data Read From (MyTextFile.txt) Using f_gets():%s", RW_Buffer);
//    //USB_CDC_Print(TxBuffer);
//    // (2) Read The Text File's Data [ Using f_read() Function ]
//    f_read(&Fil, RW_Buffer, f_size(&Fil), &RWC);
//    printf( "Data Read From (MyTextFile.txt) Using f_read():%s", RW_Buffer);
//    //USB_CDC_Print(TxBuffer);
//    // Close The File
//    f_close(&Fil);
//    printf( "File Closed! \r\n\n");
//    //USB_CDC_Print(TxBuffer);
//    //------------------[ Open An Existing Text File, Update Its Content, Read It Back ]--------------------
//    // (1) Open The Existing File For Write (Update)
//    FR_Status = f_open(&Fil, "MyTextFile.txt", FA_OPEN_EXISTING | FA_WRITE);
//    FR_Status = f_lseek(&Fil, f_size(&Fil)); // Move The File Pointer To The EOF (End-Of-File)
//    if(FR_Status != FR_OK)
//    {
//      printf( "Error! While Opening (MyTextFile.txt) File For Update.. \r\n");
//      //USB_CDC_Print(TxBuffer);
//      break;
//    }
//    // (2) Write New Line of Text Data To The File
//    FR_Status = f_puts("This New Line Was Added During File Update!\r\n", &Fil);
//    f_close(&Fil);
//    memset(RW_Buffer,'\0',sizeof(RW_Buffer)); // Clear The Buffer
//    // (3) Read The Contents of The Text File After The Update
//    FR_Status = f_open(&Fil, "MyTextFile.txt", FA_READ); // Open The File For Read
//    f_read(&Fil, RW_Buffer, f_size(&Fil), &RWC);
//    printf( "Data Read From (MyTextFile.txt) After Update:\r\n%s", RW_Buffer);
//    //USB_CDC_Print(TxBuffer);
//    f_close(&Fil);
//    //------------------[ Delete The Text File ]--------------------
//    // Delete The File
//    /*
//    FR_Status = f_unlink(MyTextFile.txt);
//    if (FR_Status != FR_OK){
//        sprintf(TxBuffer, "Error! While Deleting The (MyTextFile.txt) File.. \r\n");
//        USC_CDC_Print(TxBuffer);
//    }
//    */
//  } while(0);
//  //------------------[ Test Complete! Unmount The SD Card ]--------------------
//  FR_Status = f_mount(NULL, "", 0);
//  if (FR_Status != FR_OK)
//  {
//      printf("\r\nError! While Un-mounting SD Card, Error Code: (%i)\r\n", FR_Status);
//      //USB_CDC_Print(TxBuffer);
//  } else{
//      printf( "\r\nSD Card Un-mounted Successfully! \r\n");
//      //USB_CDC_Print(TxBuffer);
//  }
//}
/* USER CODE END 4 */

void Error_Handler(void)
{
  /* USER CODE BEGIN Error_Handler_Debug */
	/* User can add his own implementation to report the HAL error return state */
	HAL_GPIO_WritePin(LD1_GPIO_Port, LD1_Pin, SET);
	HAL_GPIO_WritePin(LD2_GPIO_Port, LD2_Pin, RESET);
//HAL_GPIO_WritePin(LD3_GPIO_Port, LD3_Pin, SET);
	__disable_irq();
	while (1) {
	}
  /* USER CODE END Error_Handler_Debug */
}
